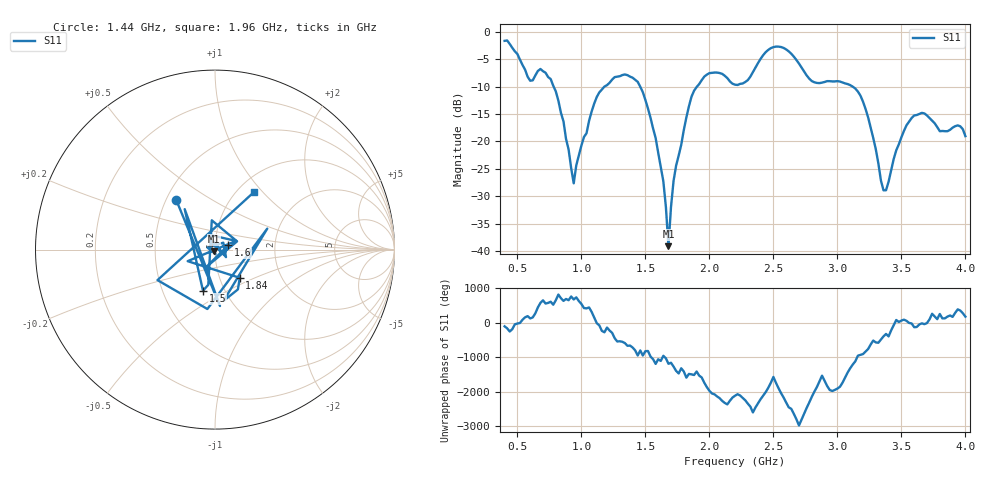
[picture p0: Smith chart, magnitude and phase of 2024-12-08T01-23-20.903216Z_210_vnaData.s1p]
!Created with skrf (http://scikit-rf.org).
# Hz S RI R 50.0
!freq ReS11 ImS11
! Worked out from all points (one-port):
!   181 points, 400 MHz to 4 GHz, reference 50 ohm
!   lowest |S11| = -39.1 dB at 1.68 GHz (marker M1), VSWR 1.02, Z = 49.6 - j1.01 ohm
!   |S11| at or under -10 dB: 783.2 MHz to 1.179 GHz (396.1 MHz wide, 40.4 % of centre); 1.46 GHz to 1.903 GHz (443 MHz wide, 26.4 % of centre); 3.12 GHz to end of sweep
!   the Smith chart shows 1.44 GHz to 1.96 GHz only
!   S11 on the Smith chart (normalised r, x): 1.44 GHz: 0.56, +0.35; 1.5 GHz: 0.79, -0.38; 1.6 GHz: 1.16, +0.06; 1.84 GHz: 1.25, -0.41; 1.96 GHz: 1.19, +0.91
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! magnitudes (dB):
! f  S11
! 400 MHz  -1.6
! 600 MHz  -8.9
! 680 MHz  -6.8
! 760 MHz  -8.6
! 860 MHz  -16.3
! 940 MHz  -27.7
! 1.12 GHz  -11.9
! 1.3 GHz  -8.1
! 1.44 GHz  -9.1
! 1.5 GHz  -12.4
! 1.6 GHz  -22.1
! 1.64 GHz  -27.3
! 1.68 GHz  -39.1
! 1.72 GHz  -27.2
! 1.76 GHz  -22.6
! 1.84 GHz  -13.6
! 1.96 GHz  -8.2
! 2.2 GHz  -9.6
! 2.48 GHz  -3.0
! 2.66 GHz  -4.5
! 2.8 GHz  -9.0
! 3.1 GHz  -9.7
! 3.22 GHz  -14.1
! 3.36 GHz  -28.9
! 3.56 GHz  -16.4
! 3.68 GHz  -14.9
! 3.8 GHz  -18.1
! 4 GHz  -19.0
